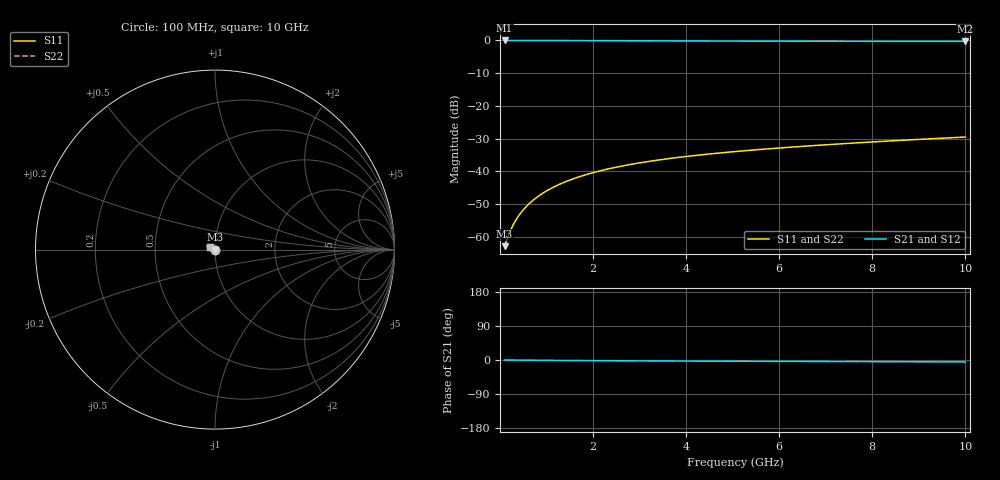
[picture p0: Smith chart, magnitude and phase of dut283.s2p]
! Touchstone file exported from HFSS 2024.1.0
!  File:  C:/UserFiles/LocalFiles/RDL_TSV_Batchsim/temp_TSV1_283_1779393417.aedt
!  Generated:  04:04:28 AM May 22, 2026
!  Design:  TSV1
!  Project:  temp_TSV1_283_1779393417
!  Setup:  Setup1
!  Solution:  Sweep
! Variables:
!  dtsv = 5.03um
!  hbump = 3um
!  htsv = 75.11um
!  lrdl = 252.1521522um
!  p = 40
!  p1 = 41.93um
!  t = 500um
!  trdl = 3um
!  wrdl = 24.89489489um
# GHz S MA R 50.000000
! Terminal data exported
! Port[1] = TSV22_T1
! Port[2] = TSV22_T2
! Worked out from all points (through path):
!   100 points, 100 MHz to 10 GHz, reference 50 ohm
!   highest |S21| = 0.00 dB at 100 MHz (marker M1); lowest = -0.3 dB at 10 GHz (marker M2)
!   lowest |S11| = -62.8 dB at 100 MHz (marker M3), VSWR 1.00, Z = 50.1 - j0.0514 ohm
!   |S11| at or under -10 dB: start of sweep to end of sweep
!   |S22| runs from -62.8 to -29.5 dB; largest |S21 - S12| = 5.4e-15
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0.1  0.0007208 -45.5  0.9995 -0.1  0.9995 -0.1  0.0007208 -45.5
! Gamma 0 0 0 0
! Port Impedance 50 0 50 0
0.2  0.001137 -66.2  0.9994 -0.2  0.9994 -0.2  0.001137 -66.2
0.3  0.001607 -76.6  0.9993 -0.3  0.9993 -0.3  0.001607 -76.6
0.4  0.002093 -83.3  0.9991 -0.4  0.9991 -0.4  0.002093 -83.3
0.5  0.002584 -88.2  0.999 -0.4  0.999 -0.4  0.002584 -88.2
0.6  0.003077 -92.2  0.9988 -0.5  0.9988 -0.5  0.003077 -92.2
0.7  0.003569 -95.6  0.9985 -0.6  0.9985 -0.6  0.003569 -95.6
0.8  0.004058 -98.6  0.9983 -0.7  0.9983 -0.7  0.004058 -98.6
0.9  0.004545 -101.5  0.998 -0.8  0.998 -0.8  0.004545 -101.5
1  0.005028 -104.1  0.9977 -0.9  0.9977 -0.9  0.005028 -104.1
1.2  0.00598 -109.0  0.9969 -1.0  0.9969 -1.0  0.00598 -109.0
1.5  0.007368 -115.7  0.9957 -1.3  0.9957 -1.3  0.007368 -115.7
1.8  0.008703 -121.9  0.9942 -1.5  0.9942 -1.5  0.008703 -121.9
2.1  0.009982 -127.8  0.9927 -1.7  0.9927 -1.7  0.009982 -127.8
2.5  0.0116 -135.0  0.9906 -2.0  0.9906 -2.0  0.0116 -135.0
2.9  0.01312 -141.8  0.9884 -2.2  0.9884 -2.2  0.01312 -141.8
3.4  0.0149 -149.6  0.9857 -2.5  0.9857 -2.5  0.0149 -149.6
4.2  0.01751 -160.7  0.9818 -2.9  0.9818 -2.9  0.01751 -160.7
5.1  0.02021 -171.5  0.978 -3.3  0.978 -3.3  0.02021 -171.5
6.7  0.02466 172.9  0.9727 -3.9  0.9727 -3.9  0.02466 172.9
8.4  0.02921 160.1  0.9688 -4.5  0.9688 -4.5  0.02921 160.1
10  0.03346 150.5  0.9661 -5.0  0.9661 -5.0  0.03346 150.5
